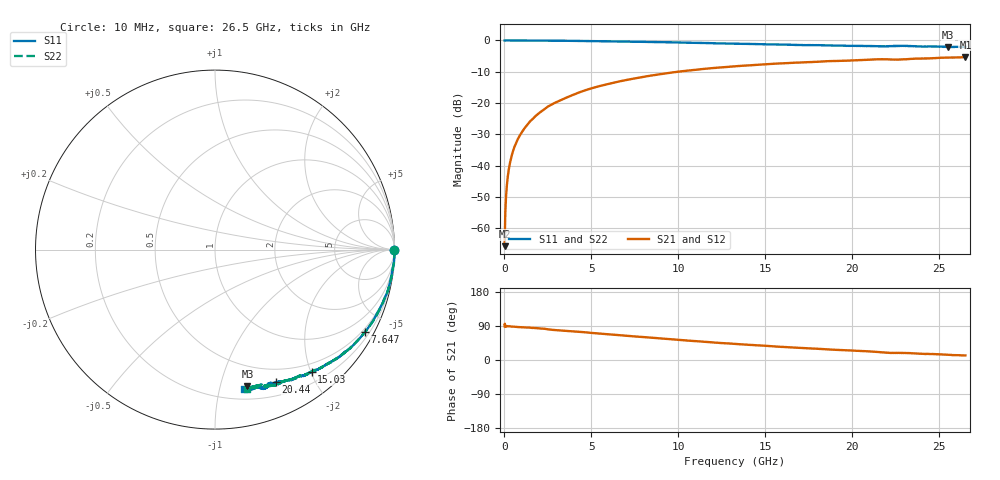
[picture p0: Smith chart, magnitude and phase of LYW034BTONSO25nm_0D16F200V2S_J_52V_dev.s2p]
!Keysight Technologies,N5222B,MY61253708,A.15.00.15
!Date: Wednesday, June 19, 2024 09:07:45
!Correction: S11(C  2-Port  )
!S21(C  2-Port  )
!S12(C  2-Port  )
!S22(C  2-Port  )
!S2P File: Measurements: S11, S21, S12, S22:
# Hz S  RI  R 50
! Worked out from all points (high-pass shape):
!   2651 points, 10 MHz to 26.5 GHz, reference 50 ohm
!   highest |S21| = -5.31 dB at 26.5 GHz (marker M1); lowest = -65.8 dB at 10 MHz (marker M2)
!   |S21| within 3 dB of the highest: 13.12921 GHz to 13.1496 GHz (20.39 MHz wide, 0.155 % of centre); 13.16 GHz to end of sweep
!   lowest |S11| = -2.1 dB at 25.5 GHz (marker M3), VSWR 8.20, Z = 15.5 - j60.8 ohm
!   |S11| at or under -10 dB: nowhere
!   |S22| runs from -2.0 to 0.0 dB; largest |S21 - S12| = 0.0075
!   S11 on the Smith chart (normalised r, x): 10 MHz: open; 7.647 GHz: 0.38, -3.85; 15.03 GHz: 0.36, -2.01; 20.44 GHz: 0.34, -1.51; 26.5 GHz: 0.28, -1.19
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1e7  0.9987 -0.00198  9.54e-06 0.000514  -0.000197 0.00036  0.9995 -0.000647
1.699396e8  0.9998 -0.0122  7.25e-05 0.00589  6.87e-05 0.00592  0.9997 -0.0114
2.099245e8  0.9997 -0.0148  0.000107 0.00727  0.000137 0.00733  0.9994 -0.0141
2.699019e8  0.9996 -0.0191  0.00016 0.00929  0.000147 0.00942  0.9998 -0.0182
3.698642e8  0.9995 -0.0264  0.000316 0.0128  0.000293 0.0129  0.9993 -0.0254
5.098113e8  0.999 -0.0355  0.000617 0.0176  0.000626 0.0177  0.9993 -0.0345
6.697509e8  0.9981 -0.0461  0.00103 0.0231  0.00107 0.0232  0.9984 -0.0452
8.696755e8  0.9978 -0.0602  0.0018 0.0298  0.00179 0.03  0.997 -0.0592
1.479445e9  0.9897 -0.103  0.00432 0.0509  0.00438 0.0512  0.9926 -0.0988
2.349117e9  0.9801 -0.158  0.0113 0.0816  0.0115 0.0821  0.9816 -0.1577
3.208792e9  0.9674 -0.2144  0.0231 0.108  0.0232 0.1087  0.9679 -0.2127
4.428332e9  0.9377 -0.2889  0.0418 0.1466  0.0422 0.1475  0.9398 -0.2852
5.827804e9  0.8978 -0.3662  0.0731 0.1838  0.0742 0.1847  0.9004 -0.3648
7.647117e9  0.835 -0.4606  0.1191 0.2216  0.1208 0.2222  0.8389 -0.4552
8.846664e9  0.7894 -0.5117  0.1543 0.2412  0.1557 0.2419  0.792 -0.5089
1.3255e10  0.6077 -0.6476  0.2849 0.2609  0.287 0.2608  0.6132 -0.6452
1.503433e10  0.5385 -0.6811  0.3312 0.254  0.3328 0.2545  0.5433 -0.6775
1.767333e10  0.4321 -0.7209  0.3904 0.2278  0.3938 0.2266  0.4457 -0.7183
2.044229e10  0.3403 -0.7398  0.4437 0.1975  0.4463 0.1947  0.3591 -0.7434
2.209166e10  0.2981 -0.7478  0.4707 0.1625  0.4724 0.1602  0.2951 -0.7546
2.550038e10  0.1804 -0.7614  0.5176 0.1236  0.5192 0.1245  0.2036 -0.7662
2.65e10  0.1626 -0.7765  0.5308 0.113  0.53 0.1099  0.1777 -0.7765
